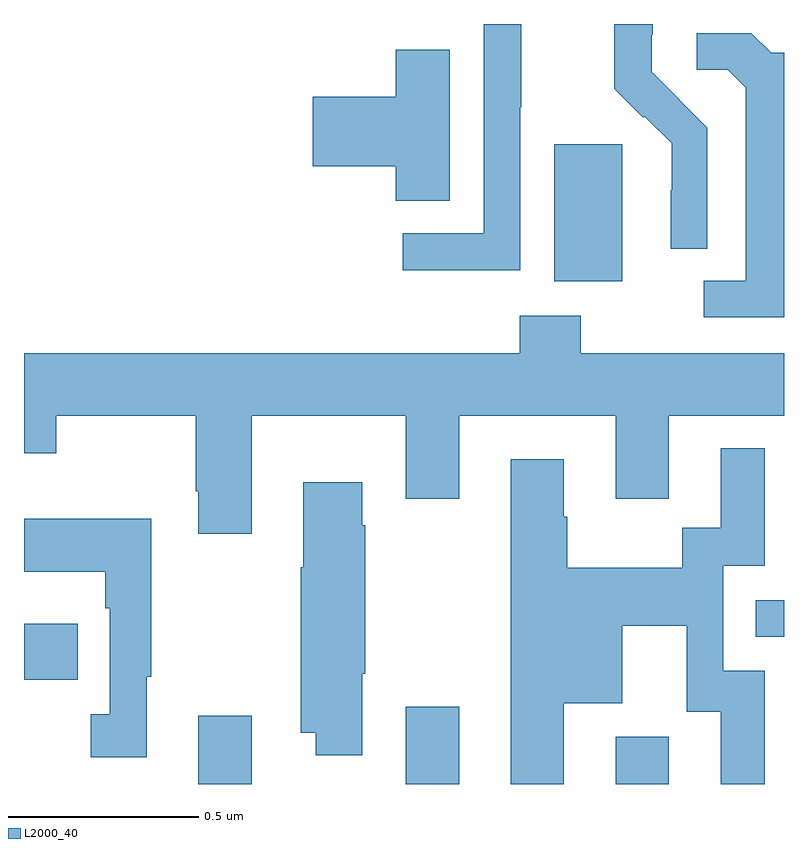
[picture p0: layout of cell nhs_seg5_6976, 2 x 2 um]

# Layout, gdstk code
import gdstk
lib = gdstk.Library(unit=1e-6, precision=1e-09)
def R(c, l, rs):  # rectangles x0, y0, x1, y1
    for r in rs: c.add(gdstk.rectangle(r[:2], r[2:], *l))
def P(c, l, *ps):  # polygons
    for p in ps: c.add(gdstk.Polygon(p, *l))
L2000_40 = (2000, 40)

nhs_seg5_6976 = lib.new_cell('nhs_seg5_6976')
R(nhs_seg5_6976, L2000_40, [(203.459,847.799,203.599,847.978), (204.005,847.799,204.145,848.002), (204.557,847.799,204.697,847.924), (203,848.074,203.141,848.221), (204.925,848.187,205,848.283), (204.395,849.122,204.574,849.483)])
P(nhs_seg5_6976, L2000_40, [(204.798,849.526),(204.725,849.599),(204.726,849.6),(204.652,849.674),(204.652,849.771),(204.654,849.771),(204.654,849.799),(204.553,849.799),(204.553,849.629),(204.63,849.552),(204.633,849.555),(204.704,849.485),(204.704,849.362),(204.702,849.362),(204.702,849.208),(204.798,849.208)],
  [(204.306,849.58),(204.309,849.58),(204.309,849.799),(204.21,849.799),(204.21,849.249),(203.997,849.249),(203.997,849.151),(204.306,849.151)],
  [(205,849.723),(204.966,849.723),(204.914,849.775),(204.771,849.775),(204.771,849.678),(204.852,849.678),(204.899,849.631),(204.899,849.123),(204.789,849.123),(204.789,849.027),(205,849.027)],
  [(204.121,849.731),(203.978,849.731),(203.978,849.608),(203.76,849.608),(203.76,849.425),(203.978,849.425),(203.978,849.334),(204.121,849.334)],
  [(203.599,848.768),(204.005,848.768),(204.005,848.55),(204.145,848.55),(204.145,848.768),(204.557,848.768),(204.557,848.55),(204.697,848.55),(204.697,848.768),(205,848.768),(205,848.932),(204.465,848.932),(204.465,849.031),(204.305,849.031),(204.305,848.932),(203,848.932),(203,848.669),(203.085,848.669),(203.085,848.768),(203.452,848.768),(203.452,848.569),(203.459,848.569),(203.459,848.457),(203.599,848.457)],
  [(204.421,848.012),(204.574,848.012),(204.574,848.216),(204.744,848.216),(204.744,847.989),(204.833,847.989),(204.833,847.799),(204.949,847.799),(204.949,848.097),(204.84,848.097),(204.84,848.373),(204.949,848.373),(204.949,848.683),(204.833,848.683),(204.833,848.474),(204.732,848.474),(204.732,848.368),(204.429,848.368),(204.429,848.502),(204.421,848.502),(204.421,848.653),(204.281,848.653),(204.281,847.799),(204.421,847.799)],
  [(203.89,848.089),(203.898,848.089),(203.898,848.48),(203.89,848.48),(203.89,848.593),(203.735,848.593),(203.735,848.369),(203.728,848.369),(203.728,847.934),(203.768,847.934),(203.768,847.875),(203.89,847.875)],
  [(203.323,848.081),(203.335,848.081),(203.335,848.497),(203,848.497),(203,848.357),(203.214,848.357),(203.214,848.261),(203.226,848.261),(203.226,847.982),(203.175,847.982),(203.175,847.869),(203.323,847.869)])

lib.write_gds('nhs_seg5_6976.gds')
